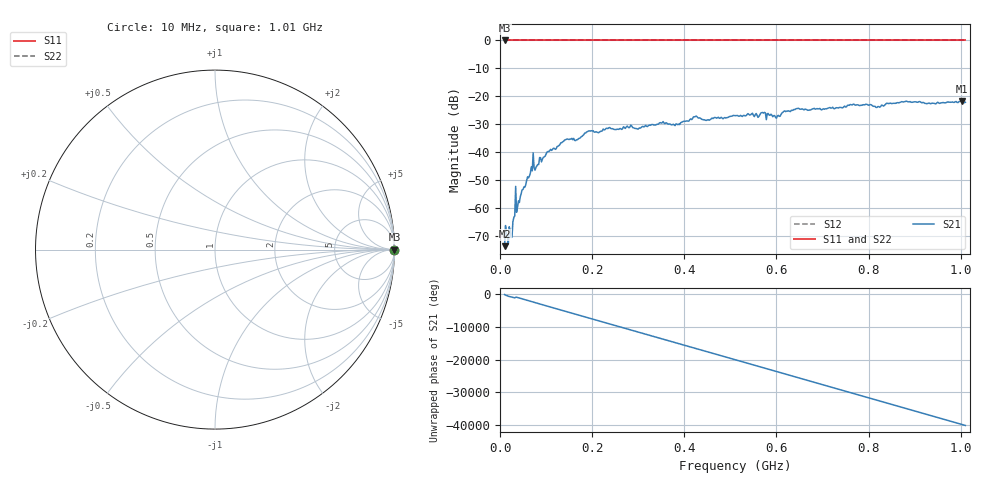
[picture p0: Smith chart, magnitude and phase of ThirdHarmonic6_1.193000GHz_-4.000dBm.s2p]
! 8/16/2025 12:16:48 PM
! C:\ANRITSUVNA\TEMP\TEMP.S2P
! CHANNEL.1
! TR.MEASUREMENT
! RAW.DATA
! RF.CORRECTION.OFF
! AVERAGING.OFF
! IF.BANDWIDTH: 5KHZ
! SWEEPTYPE:  FREQ.SWEEP(Linear)
! Reference Plane Port Info
! PORT:  PORT1  PORT2
! DISTANCE:  0  m  0  m
! TIME:  0  s  0  s
! PHASE.OFFSET:  0  deg.  0  deg.
! LOSS:  0  dB  0  dB
! REF.LOSS:  0  dB  0  dB
! REF.FREQ:  0  Hz  0  Hz
! Power Info
! POWER:  -20  dBm  -20  dBm
! EFF.POWER:  -20  dBm  -20  dBm
! SOURCE.ATTEN:  0  dB  0  dB
! TEST.ATTEN:  0  dB  0  dB
# GHZ S RI R 50.0
! FREQ.GHZ  S11RE  S11IM  S21RE  S21IM  S12RE  S12IM  S22RE  S22IM
!; PortSelection: Port_12
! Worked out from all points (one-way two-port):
!   501 points, 10 MHz to 1.01 GHz, reference 50 ohm
!   highest |S21| = -21.63 dB at 1.002 GHz (marker M1); lowest = -73.6 dB at 10 MHz (marker M2)
!   lowest |S11| = 0.0 dB at 10 MHz (marker M3)
!   |S11| at or under -10 dB: nowhere
!   |S22| runs from 0.0 to 0.0 dB; largest |S21 - S12| = 1.1
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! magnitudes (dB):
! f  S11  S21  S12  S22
! 10 MHz  0.0  -73.6  0.0  0.0
! 16 MHz  0.0  -69.4  0.0  0.0
! 22 MHz  0.0  -67.8  0.0  0.0
! 28 MHz  0.0  -64.8  0.0  0.0
! 30 MHz  0.0  -63.3  0.0  0.0
! 36 MHz  0.0  -61.4  0.0  0.0
! 40 MHz  0.0  -57.4  0.0  0.0
! 70 MHz  0.0  -46.6  0.0  0.0
! 80 MHz  0.0  -44.8  0.0  0.0
! 106 MHz  0.0  -39.7  0.0  0.0
! 142 MHz  0.0  -35.5  0.0  0.0
! 178 MHz  0.0  -34.3  0.0  0.0
! 194 MHz  0.0  -32.3  0.0  0.0
! 344 MHz  0.0  -29.9  0.0  0.0
! 510 MHz  0.0  -26.8  0.0  0.0
! 572 MHz  0.0  -26.0  0.0  0.0
! 602 MHz  0.0  -27.0  0.0  0.0
! 644 MHz  0.0  -24.4  0.0  0.0
! 678 MHz  0.0  -24.5  0.0  0.0
! 844 MHz  0.0  -22.6  0.0  0.0
! 1.002 GHz  0.0  -21.6  0.0  0.0
! 1.01 GHz  0.0  -22.1  0.0  0.0
